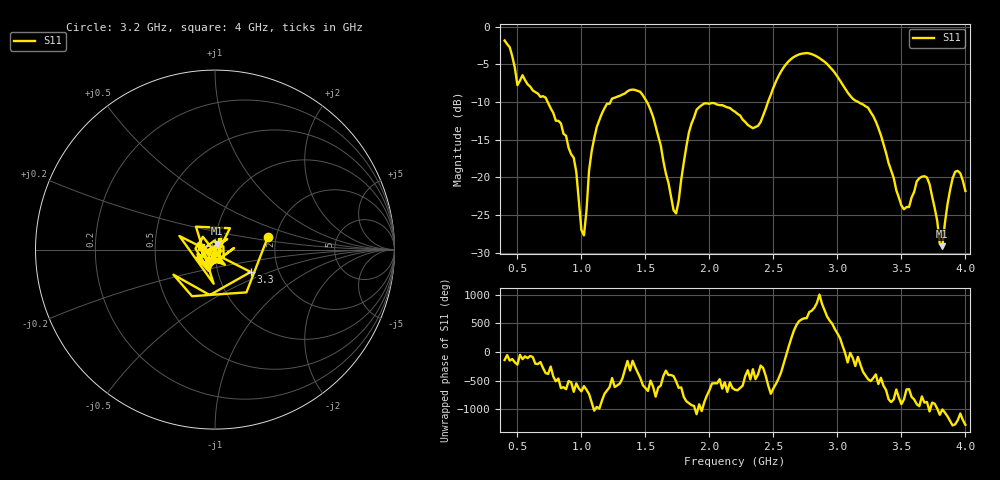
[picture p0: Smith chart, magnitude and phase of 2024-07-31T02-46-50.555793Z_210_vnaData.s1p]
!Created with skrf (http://scikit-rf.org).
# Hz S RI R 50.0
!freq ReS11 ImS11
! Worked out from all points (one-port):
!   181 points, 400 MHz to 4 GHz, reference 50 ohm
!   lowest |S11| = -29.1 dB at 3.82 GHz (marker M1), VSWR 1.07, Z = 50.7 + j3.44 ohm
!   |S11| at or under -10 dB: 736.3 MHz to 1.227 GHz (490.7 MHz wide, 50 % of centre); 1.512 GHz to 2.458 GHz (946.4 MHz wide, 47.7 % of centre); 3.162 GHz to end of sweep
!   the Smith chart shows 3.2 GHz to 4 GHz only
!   S11 on the Smith chart (normalised r, x): 3.2 GHz: 1.81, +0.29; 3.3 GHz: 1.44, -0.38; 4 GHz: 0.85, +0.03
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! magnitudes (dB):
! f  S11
! 400 MHz  -1.8
! 500 MHz  -7.8
! 720 MHz  -9.4
! 860 MHz  -14.2
! 940 MHz  -17.4
! 1 GHz  -27.0
! 1.02 GHz  -27.7
! 1.06 GHz  -19.1
! 1.12 GHz  -13.3
! 1.3 GHz  -9.2
! 1.52 GHz  -10.2
! 1.72 GHz  -24.4
! 1.76 GHz  -23.1
! 1.84 GHz  -14.0
! 1.9 GHz  -11.0
! 2.2 GHz  -11.3
! 2.38 GHz  -13.2
! 2.66 GHz  -4.0
! 2.86 GHz  -4.2
! 3.1 GHz  -9.2
! 3.2 GHz  -10.3
! 3.3 GHz  -12.6
! 3.5 GHz  -23.7
! 3.56 GHz  -23.9
! 3.7 GHz  -20.0
! 3.82 GHz  -29.1
! 3.92 GHz  -19.3
! 4 GHz  -21.8
